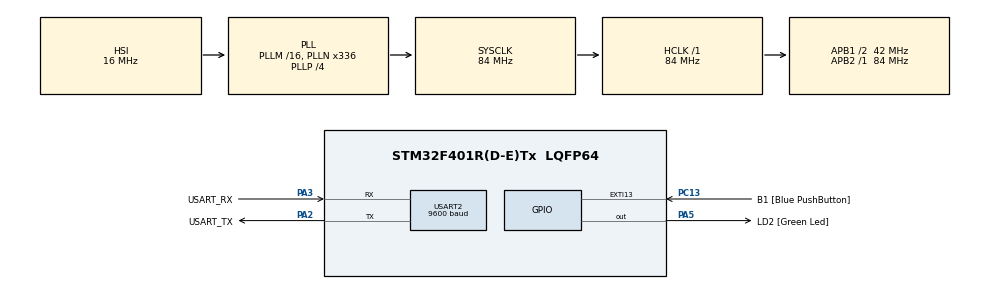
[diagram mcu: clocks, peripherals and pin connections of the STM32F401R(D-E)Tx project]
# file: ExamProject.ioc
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Mcu.Family=STM32F4
Mcu.Name=STM32F401R(D-E)Tx
Mcu.Package=LQFP64
NVIC.PriorityGroup=NVIC_PRIORITYGROUP_0
PA13.GPIO_Label=TMS
PA13.Mode=Serial_Wire
PA13.Signal=SYS_JTMS-SWDIO
PA14.GPIO_Label=TCK
PA14.Mode=Serial_Wire
PA14.Signal=SYS_JTCK-SWCLK
PA2.GPIO_Label=USART_TX
PA2.GPIO_Mode=GPIO_MODE_AF_PP
PA2.GPIO_PuPd=GPIO_NOPULL
PA2.GPIO_Speed=GPIO_SPEED_FREQ_LOW
PA2.Mode=Asynchronous
PA2.Signal=USART2_TX
PA3.GPIO_Label=USART_RX
PA3.GPIO_Mode=GPIO_MODE_AF_PP
PA3.GPIO_PuPd=GPIO_NOPULL
PA3.GPIO_Speed=GPIO_SPEED_FREQ_LOW
PA3.Mode=Asynchronous
PA3.Signal=USART2_RX
PA5.GPIO_Label=LD2 [Green Led]
PA5.GPIO_Mode=GPIO_MODE_OUTPUT_PP
PA5.GPIO_PuPd=GPIO_NOPULL
PA5.GPIO_Speed=GPIO_SPEED_FREQ_LOW
PA5.Signal=GPIO_Output
PB3.GPIO_Label=SWO
PB3.Signal=SYS_JTDO-SWO
PC13-ANTI_TAMP.GPIO_Label=B1 [Blue PushButton]
PC13-ANTI_TAMP.GPIO_ModeDefaultEXTI=GPIO_MODE_IT_FALLING
PC13-ANTI_TAMP.GPIO_PuPd=GPIO_NOPULL
PC13-ANTI_TAMP.Signal=GPXTI13
PC14-OSC32_IN.Mode=LSE-External-Oscillator
PC14-OSC32_IN.Signal=RCC_OSC32_IN
PC15-OSC32_OUT.Mode=LSE-External-Oscillator
PC15-OSC32_OUT.Signal=RCC_OSC32_OUT
PH0\ -\ OSC_IN.Mode=HSE-External-Clock-Source
PH0\ -\ OSC_IN.Signal=RCC_OSC_IN
PH1\ -\ OSC_OUT.Mode=HSE-External-Clock-Source
PH1\ -\ OSC_OUT.Signal=RCC_OSC_OUT
ProjectManager.HeapSize=0x200
ProjectManager.StackSize=0x400
ProjectManager.TargetToolchain=STM32CubeIDE
RCC.48MHZClocksFreq_Value=48000000
RCC.AHBFreq_Value=84000000
RCC.APB1CLKDivider=RCC_HCLK_DIV2
RCC.APB1Freq_Value=42000000
RCC.APB1TimFreq_Value=84000000
RCC.APB2Freq_Value=84000000
RCC.APB2TimFreq_Value=84000000
RCC.CortexFreq_Value=84000000
RCC.HCLKFreq_Value=84000000
RCC.HSE_VALUE=8000000
RCC.HSI_VALUE=16000000
RCC.PLLN=336
RCC.PLLP=RCC_PLLP_DIV4
RCC.PLLQ=7
RCC.SYSCLKFreq_VALUE=84000000
RCC.SYSCLKSource=RCC_SYSCLKSOURCE_PLLCLK
RCC.VCOOutputFreq_Value=336000000
USART2.BaudRate=9600
USART2.VirtualMode=VM_ASYNC
board=NUCLEO-F401RE

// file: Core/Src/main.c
/* USER CODE BEGIN Header */
/**
  ******************************************************************************
  * @file           : main.c
  * @brief          : Main program body
  ******************************************************************************
  * @attention
  *
  * Copyright (c) 2023 STMicroelectronics.
  * All rights reserved.
  *
  * This software is licensed under terms that can be found in the LICENSE file
  * in the root directory of this software component.
  * If no LICENSE file comes with this software, it is provided AS-IS.
  *
  ******************************************************************************
  */
/* USER CODE END Header */
#include "main.h"

/* USER CODE BEGIN Includes */
#include <stdio.h>
#include "detectionFunctions.h"
/* USER CODE END Includes */

UART_HandleTypeDef huart2;

void SystemClock_Config(void);
static void MX_GPIO_Init(void);
static void MX_USART2_UART_Init(void);
/* USER CODE BEGIN PFP */
#ifdef __GNUC__
#define PUTCHAR_PROTOTYPE int __io_putchar(int ch)
#else
#define PUTCHAR_PROTOTYPE int fputc(int ch, FILE *f)
#endif

PUTCHAR_PROTOTYPE
{
  HAL_UART_Transmit(&huart2, (uint8_t *)&ch, 1, HAL_MAX_DELAY);
  return ch;
}
/* USER CODE END PFP */

int main(void)
{

  /* MCU Configuration--------------------------------------------------------*/

  /* Reset of all peripherals, Initializes the Flash interface and the Systick. */
  HAL_Init();

  /* Configure the system clock */
  SystemClock_Config();

  /* Initialize all configured peripherals */
  MX_GPIO_Init();
  MX_USART2_UART_Init();
  /* USER CODE BEGIN 2 */
  initDetectionFunction(10);
  fillDataInStructs();

  clrscr();
  gotoxy(0,0);
  printStatement();

  /* USER CODE END 2 */

  /* Infinite loop */
  /* USER CODE BEGIN WHILE */
  while (1)
  {

	  alterData();
	  checkEvent();

    /* USER CODE END WHILE */

  }
}

void SystemClock_Config(void)
{
  RCC_OscInitTypeDef RCC_OscInitStruct = {0};
  RCC_ClkInitTypeDef RCC_ClkInitStruct = {0};

  /** Configure the main internal regulator output voltage
  */
  __HAL_RCC_PWR_CLK_ENABLE();
  __HAL_PWR_VOLTAGESCALING_CONFIG(PWR_REGULATOR_VOLTAGE_SCALE2);

  /** Initializes the RCC Oscillators according to the specified parameters
  * in the RCC_OscInitTypeDef structure.
  */
  RCC_OscInitStruct.OscillatorType = RCC_OSCILLATORTYPE_HSI;
  RCC_OscInitStruct.HSIState = RCC_HSI_ON;
  RCC_OscInitStruct.HSICalibrationValue = RCC_HSICALIBRATION_DEFAULT;
  RCC_OscInitStruct.PLL.PLLState = RCC_PLL_ON;
  RCC_OscInitStruct.PLL.PLLSource = RCC_PLLSOURCE_HSI;
  RCC_OscInitStruct.PLL.PLLM = 16;
  RCC_OscInitStruct.PLL.PLLN = 336;
  RCC_OscInitStruct.PLL.PLLP = RCC_PLLP_DIV4;
  RCC_OscInitStruct.PLL.PLLQ = 7;
  if (HAL_RCC_OscConfig(&RCC_OscInitStruct) != HAL_OK)
  {
    Error_Handler();
  }

  /** Initializes the CPU, AHB and APB buses clocks
  */
  RCC_ClkInitStruct.ClockType = RCC_CLOCKTYPE_HCLK|RCC_CLOCKTYPE_SYSCLK
                              |RCC_CLOCKTYPE_PCLK1|RCC_CLOCKTYPE_PCLK2;
  RCC_ClkInitStruct.SYSCLKSource = RCC_SYSCLKSOURCE_PLLCLK;
  RCC_ClkInitStruct.AHBCLKDivider = RCC_SYSCLK_DIV1;
  RCC_ClkInitStruct.APB1CLKDivider = RCC_HCLK_DIV2;
  RCC_ClkInitStruct.APB2CLKDivider = RCC_HCLK_DIV1;

  if (HAL_RCC_ClockConfig(&RCC_ClkInitStruct, FLASH_LATENCY_2) != HAL_OK)
  {
    Error_Handler();
  }
}

static void MX_USART2_UART_Init(void)
{

  huart2.Instance = USART2;
  huart2.Init.BaudRate = 9600;
  huart2.Init.WordLength = UART_WORDLENGTH_8B;
  huart2.Init.StopBits = UART_STOPBITS_1;
  huart2.Init.Parity = UART_PARITY_NONE;
  huart2.Init.Mode = UART_MODE_TX_RX;
  huart2.Init.HwFlowCtl = UART_HWCONTROL_NONE;
  huart2.Init.OverSampling = UART_OVERSAMPLING_16;
  if (HAL_UART_Init(&huart2) != HAL_OK)
  {
    Error_Handler();
  }

}

static void MX_GPIO_Init(void)
{
  GPIO_InitTypeDef GPIO_InitStruct = {0};

  /* GPIO Ports Clock Enable */
  __HAL_RCC_GPIOC_CLK_ENABLE();
  __HAL_RCC_GPIOH_CLK_ENABLE();
  __HAL_RCC_GPIOA_CLK_ENABLE();
  __HAL_RCC_GPIOB_CLK_ENABLE();

  /*Configure GPIO pin Output Level */
  HAL_GPIO_WritePin(LD2_GPIO_Port, LD2_Pin, GPIO_PIN_RESET);

  /*Configure GPIO pin : B1_Pin */
  GPIO_InitStruct.Pin = B1_Pin;
  GPIO_InitStruct.Mode = GPIO_MODE_IT_FALLING;
  GPIO_InitStruct.Pull = GPIO_NOPULL;
  HAL_GPIO_Init(B1_GPIO_Port, &GPIO_InitStruct);

  /*Configure GPIO pin : LD2_Pin */
  GPIO_InitStruct.Pin = LD2_Pin;
  GPIO_InitStruct.Mode = GPIO_MODE_OUTPUT_PP;
  GPIO_InitStruct.Pull = GPIO_NOPULL;
  GPIO_InitStruct.Speed = GPIO_SPEED_FREQ_LOW;
  HAL_GPIO_Init(LD2_GPIO_Port, &GPIO_InitStruct);

}

void Error_Handler(void)
{
  __disable_irq();
  while (1)
  {
  }
}
